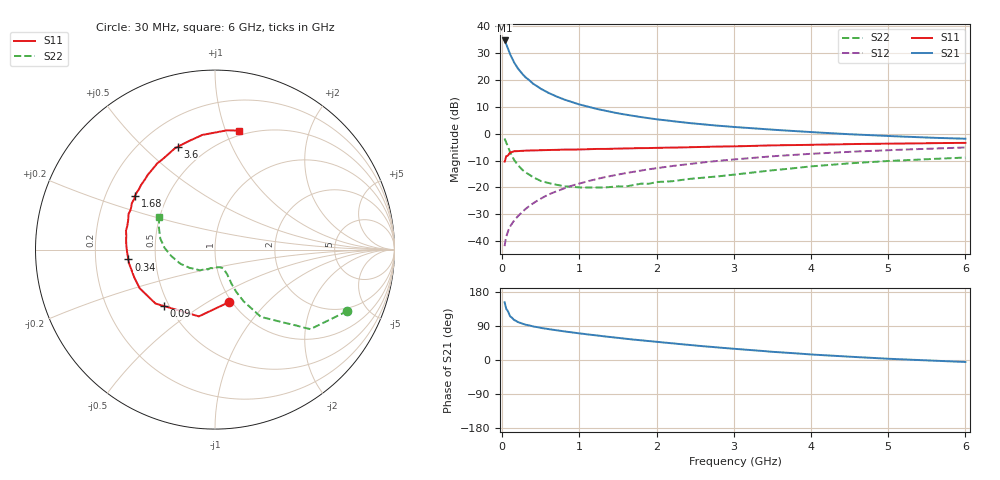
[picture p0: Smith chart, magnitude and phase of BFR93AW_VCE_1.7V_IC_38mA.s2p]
! Infineon Technologies  Discrete & RF Semiconductors
! BFR93AW
! VCE =  1.7 V,  IC =  38 mA
! Common Emitter S-Parameters:  Nov 2015
# GHz  S  MA  R  50
!  f  S11  S21  S12  S22
! GHz  MAG  ANG  MAG  ANG  MAG  ANG  MAG  ANG
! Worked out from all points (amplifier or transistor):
!   206 points, 30 MHz to 6 GHz, reference 50 ohm
!   highest |S21| = 34.7 dB at 30 MHz (marker M1)
!   |S21| within 3 dB of that: start of sweep to 73.09 MHz
!   unconditionally stable (mu >= 1): 370.8 MHz to 2.379 GHz
!   at 200 MHz: K = 0.89, MSG = 27.6 dB, |S12| = -30.8 dB
!   at 1.56 GHz: K = 1.05, MAG = 9.8 dB, |S12| = -14.9 dB
!   at 6 GHz: K = 0.95, MSG = 1.6 dB, |S12| = -5.1 dB
!   S11 on the Smith chart (normalised r, x): 30 MHz: 0.97, -0.63; 90 MHz: 0.47, -0.36; 340 MHz: 0.35, -0.05; 1.68 GHz: 0.33, +0.27; 3.6 GHz: 0.35, +0.64; 6 GHz: 0.46, +1.11
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0.03  0.3027 -74.8  54.25 152.3  0.0081 71.3  0.8133 -24.9
0.05  0.3829 -103.6  46.52 135.5  0.0121 63.7  0.6923 -39.8
0.09  0.4235 -132.0  33 121.1  0.0174 63.4  0.498 -51.3
0.1  0.4475 -137.8  30.12 115.6  0.0187 63.3  0.4542 -55.7
0.15  0.4716 -152.8  21.41 106.1  0.0239 64.2  0.3297 -61.0
0.2  0.4757 -160.9  16.52 100.3  0.0289 66.6  0.2628 -63.3
0.24  0.4784 -165.9  13.99 97.2  0.0331 68.5  0.2268 -64.0
0.3  0.4851 -170.9  11.24 93.2  0.0397 70.5  0.1917 -64.1
0.34  0.486 -173.5  10.14 91.6  0.0441 71.1  0.1769 -63.9
0.4  0.4891 -177.2  8.491 88.5  0.0508 71.8  0.1547 -63.7
0.5  0.494 178.0  6.843 84.6  0.0621 72.6  0.1321 -64.8
0.6  0.4976 174.7  5.726 81.4  0.0741 73.2  0.1206 -65.3
0.8  0.5071 167.9  4.332 75.5  0.096 72.7  0.1052 -71.7
1.04  0.5112 161.2  3.375 69.3  0.1231 71.3  0.1 -79.2
1.3  0.5196 155.0  2.738 62.9  0.1525 69.2  0.0995 -88.0
1.68  0.5361 146.3  2.163 54.4  0.1937 65.9  0.11 -106.7
2.02  0.5467 139.0  1.84 47.3  0.2307 62.5  0.1267 -116.9
3.1  0.586 118.3  1.304 28.1  0.3418 50.8  0.1794 -147.0
3.6  0.6096 109.8  1.163 20.3  0.3888 45.1  0.2152 -161.1
4.1  0.6253 102.0  1.052 13.5  0.4304 39.4  0.253 -174.1
5.1  0.6546 88.9  0.895 2.5  0.5002 28.5  0.3154 166.4
6  0.6756 78.8  0.807 -5.2  0.555 19.4  0.3605 149.6
